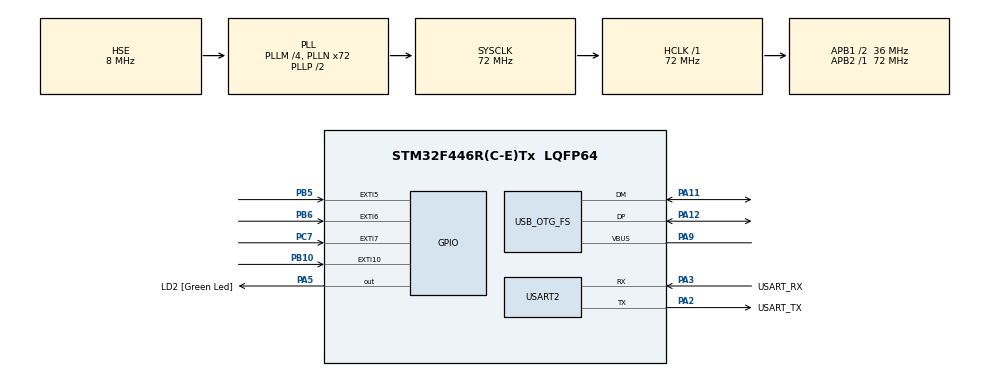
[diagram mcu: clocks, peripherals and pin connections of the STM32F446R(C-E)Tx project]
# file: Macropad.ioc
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Mcu.Family=STM32F4
Mcu.Name=STM32F446R(C-E)Tx
Mcu.Package=LQFP64
NVIC.EXTI15_10_IRQn=true\:0\:0\:false\:false\:true\:true\:true\:true
NVIC.EXTI9_5_IRQn=true\:0\:0\:false\:false\:true\:true\:true\:true
NVIC.OTG_FS_IRQn=true\:0\:0\:false\:false\:true\:false\:true\:true
NVIC.PriorityGroup=NVIC_PRIORITYGROUP_0
NVIC.USART2_IRQn=true\:0\:0\:false\:false\:true\:true\:true\:true
PA11.Mode=Device_Only
PA11.Signal=USB_OTG_FS_DM
PA12.Mode=Device_Only
PA12.Signal=USB_OTG_FS_DP
PA13.GPIO_Label=TMS
PA13.Mode=Trace_Asynchronous_SW
PA13.Signal=SYS_JTMS-SWDIO
PA14.GPIO_Label=TCK
PA14.Mode=Trace_Asynchronous_SW
PA14.Signal=SYS_JTCK-SWCLK
PA2.GPIO_Label=USART_TX
PA2.Mode=Asynchronous
PA2.Signal=USART2_TX
PA3.GPIO_Label=USART_RX
PA3.Mode=Asynchronous
PA3.Signal=USART2_RX
PA5.GPIO_Label=LD2 [Green Led]
PA5.Signal=GPIO_Output
PA9.Mode=Activate_VBUS
PA9.Signal=USB_OTG_FS_VBUS
PB10.GPIO_PuPd=GPIO_PULLDOWN
PB10.Signal=GPXTI10
PB3.GPIO_Label=SWO
PB3.Mode=Trace_Asynchronous_SW
PB3.Signal=SYS_JTDO-SWO
PB5.GPIO_PuPd=GPIO_PULLDOWN
PB5.Signal=GPXTI5
PB6.GPIO_PuPd=GPIO_PULLDOWN
PB6.Signal=GPXTI6
PC14-OSC32_IN.Mode=LSE-External-Oscillator
PC14-OSC32_IN.Signal=RCC_OSC32_IN
PC15-OSC32_OUT.Mode=LSE-External-Oscillator
PC15-OSC32_OUT.Signal=RCC_OSC32_OUT
PC7.GPIO_PuPd=GPIO_PULLDOWN
PC7.Signal=GPXTI7
PH0-OSC_IN.Mode=HSE-External-Oscillator
PH0-OSC_IN.Signal=RCC_OSC_IN
PH1-OSC_OUT.Mode=HSE-External-Oscillator
PH1-OSC_OUT.Signal=RCC_OSC_OUT
ProjectManager.HeapSize=0x200
ProjectManager.StackSize=0x400
ProjectManager.TargetToolchain=STM32CubeIDE
RCC.48MHZClocksFreq_Value=84000000
RCC.AHBFreq_Value=72000000
RCC.APB1CLKDivider=RCC_HCLK_DIV2
RCC.APB1Freq_Value=36000000
RCC.APB1TimFreq_Value=72000000
RCC.APB2Freq_Value=72000000
RCC.APB2TimFreq_Value=72000000
RCC.CortexFreq_Value=72000000
RCC.FLatency-AdvancedSettings=FLASH_LATENCY_2
RCC.HCLKFreq_Value=72000000
RCC.HSE_VALUE=8000000
RCC.HSI_VALUE=16000000
RCC.PLLM=4
RCC.PLLN=72
RCC.PLLQ=3
RCC.PLLSourceVirtual=RCC_PLLSOURCE_HSE
RCC.SYSCLKFreq_VALUE=72000000
RCC.SYSCLKSource=RCC_SYSCLKSOURCE_PLLCLK
RCC.USBFreq_Value=48000000
RCC.VCOOutputFreq_Value=144000000
USART2.VirtualMode=VM_ASYNC
USB_DEVICE.CLASS_NAME_FS=HID
USB_DEVICE.VirtualMode-HID_FS=Hid
USB_DEVICE.VirtualModeFS=Hid_FS
USB_OTG_FS.VirtualMode=Device_Only
VP_USB_DEVICE_VS_USB_DEVICE_HID_FS.Mode=HID_FS
board=NUCLEO-F446RE

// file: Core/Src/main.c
/* USER CODE BEGIN Header */
/**
  ******************************************************************************
  * @file           : main.c
  * @brief          : Main program body
  ******************************************************************************
  * @attention
  *
  * Copyright (c) 2025 STMicroelectronics.
  * All rights reserved.
  *
  * This software is licensed under terms that can be found in the LICENSE file
  * in the root directory of this software component.
  * If no LICENSE file comes with this software, it is provided AS-IS.
  *
  ******************************************************************************
  */
/* USER CODE END Header */
#include "main.h"
#include "usb_device.h"

/* USER CODE BEGIN Includes */
#include <stdbool.h>
/* USER CODE END Includes */

UART_HandleTypeDef huart2;

void SystemClock_Config(void);
static void MX_GPIO_Init(void);
static void MX_USART2_UART_Init(void);

/* USER CODE BEGIN 0 */
extern USBD_HandleTypeDef hUsbDeviceFS;
bool macroActive;
char btnOneID[] = "10";
char btnTwoID[] = "20";
char btnThreeID[] = "30";
char btnFourID[] = "40";

uint32_t macroStartTime;
uint32_t currentTime;
uint32_t previousTime;
int _write(int file, char *ptr, int len){//overwrite the write function for printf to send statements to swv console
	for(int i=0; i < len; i++){
		ITM_SendChar(*ptr++);
	}
	return len;
}

//function to execute macros and setup
typedef struct{//struct to represent keyboard protocol aka what keys you can press or combinations 1 through 6 plus modifiers
	uint8_t MODIFIER;
	uint8_t RESERVED;
	uint8_t KEYCODE1;
	uint8_t KEYCODE2;
	uint8_t KEYCODE3;
	uint8_t KEYCODE4;
	uint8_t KEYCODE5;
	uint8_t KEYCODE6;
} keyboardHID;

keyboardHID keyboardHid = {0}; //create the struct that can be edited to execute macros

//macros are CTRL + Key based for now
void executeMacro(uint8_t keyCode){
	macroStartTime = HAL_GetTick();
	macroActive = true;
	keyboardHid.MODIFIER = 0x01; //left ctrl held down

	keyboardHid.KEYCODE1 = keyCode; //added key combo with CTRL
	USBD_HID_SendReport(&hUsbDeviceFS, &keyboardHid, sizeof(keyboardHid));//send to computer
	//hal delay messes up the clock

}

void releaseMacro(){
	if (macroActive && (HAL_GetTick() - macroStartTime >= 50)){
		//release key afterward
		keyboardHid.MODIFIER = 0x00; //let go off CTRL
		keyboardHid.KEYCODE1 = 0x00; //let go off added key
		USBD_HID_SendReport(&hUsbDeviceFS, &keyboardHid, sizeof(keyboardHid));
		macroActive = false;
	}
}

/* USER CODE END 0 */

int main(void)
{

  /* MCU Configuration--------------------------------------------------------*/

  /* Reset of all peripherals, Initializes the Flash interface and the Systick. */
  HAL_Init();

  /* Configure the system clock */
  SystemClock_Config();

  /* Initialize all configured peripherals */
  MX_GPIO_Init();
  MX_USART2_UART_Init();
  MX_USB_DEVICE_Init();

  /* Infinite loop */
  while (1)
  {

    /* USER CODE BEGIN 3 */
	  releaseMacro();
  }
  /* USER CODE END 3 */
}

void SystemClock_Config(void)
{
  RCC_OscInitTypeDef RCC_OscInitStruct = {0};
  RCC_ClkInitTypeDef RCC_ClkInitStruct = {0};

  /** Configure the main internal regulator output voltage
  */
  __HAL_RCC_PWR_CLK_ENABLE();
  __HAL_PWR_VOLTAGESCALING_CONFIG(PWR_REGULATOR_VOLTAGE_SCALE3);

  /** Initializes the RCC Oscillators according to the specified parameters
  * in the RCC_OscInitTypeDef structure.
  */
  RCC_OscInitStruct.OscillatorType = RCC_OSCILLATORTYPE_HSE;
  RCC_OscInitStruct.HSEState = RCC_HSE_ON;
  RCC_OscInitStruct.PLL.PLLState = RCC_PLL_ON;
  RCC_OscInitStruct.PLL.PLLSource = RCC_PLLSOURCE_HSE;
  RCC_OscInitStruct.PLL.PLLM = 4;
  RCC_OscInitStruct.PLL.PLLN = 72;
  RCC_OscInitStruct.PLL.PLLP = RCC_PLLP_DIV2;
  RCC_OscInitStruct.PLL.PLLQ = 3;
  RCC_OscInitStruct.PLL.PLLR = 2;
  if (HAL_RCC_OscConfig(&RCC_OscInitStruct) != HAL_OK)
  {
    Error_Handler();
  }

  /** Initializes the CPU, AHB and APB buses clocks
  */
  RCC_ClkInitStruct.ClockType = RCC_CLOCKTYPE_HCLK|RCC_CLOCKTYPE_SYSCLK
                              |RCC_CLOCKTYPE_PCLK1|RCC_CLOCKTYPE_PCLK2;
  RCC_ClkInitStruct.SYSCLKSource = RCC_SYSCLKSOURCE_PLLCLK;
  RCC_ClkInitStruct.AHBCLKDivider = RCC_SYSCLK_DIV1;
  RCC_ClkInitStruct.APB1CLKDivider = RCC_HCLK_DIV2;
  RCC_ClkInitStruct.APB2CLKDivider = RCC_HCLK_DIV1;

  if (HAL_RCC_ClockConfig(&RCC_ClkInitStruct, FLASH_LATENCY_2) != HAL_OK)
  {
    Error_Handler();
  }
}

static void MX_USART2_UART_Init(void)
{

  huart2.Instance = USART2;
  huart2.Init.BaudRate = 115200;
  huart2.Init.WordLength = UART_WORDLENGTH_8B;
  huart2.Init.StopBits = UART_STOPBITS_1;
  huart2.Init.Parity = UART_PARITY_NONE;
  huart2.Init.Mode = UART_MODE_TX_RX;
  huart2.Init.HwFlowCtl = UART_HWCONTROL_NONE;
  huart2.Init.OverSampling = UART_OVERSAMPLING_16;
  if (HAL_UART_Init(&huart2) != HAL_OK)
  {
    Error_Handler();
  }

}

static void MX_GPIO_Init(void)
{
  GPIO_InitTypeDef GPIO_InitStruct = {0};

  /* GPIO Ports Clock Enable */
  __HAL_RCC_GPIOC_CLK_ENABLE();
  __HAL_RCC_GPIOH_CLK_ENABLE();
  __HAL_RCC_GPIOA_CLK_ENABLE();
  __HAL_RCC_GPIOB_CLK_ENABLE();

  /*Configure GPIO pin Output Level */
  HAL_GPIO_WritePin(LD2_GPIO_Port, LD2_Pin, GPIO_PIN_RESET);

  /*Configure GPIO pin : LD2_Pin */
  GPIO_InitStruct.Pin = LD2_Pin;
  GPIO_InitStruct.Mode = GPIO_MODE_OUTPUT_PP;
  GPIO_InitStruct.Pull = GPIO_NOPULL;
  GPIO_InitStruct.Speed = GPIO_SPEED_FREQ_LOW;
  HAL_GPIO_Init(LD2_GPIO_Port, &GPIO_InitStruct);

  /*Configure GPIO pins : PB10 PB5 PB6 */
  GPIO_InitStruct.Pin = GPIO_PIN_10|GPIO_PIN_5|GPIO_PIN_6;
  GPIO_InitStruct.Mode = GPIO_MODE_IT_RISING;
  GPIO_InitStruct.Pull = GPIO_PULLDOWN;
  HAL_GPIO_Init(GPIOB, &GPIO_InitStruct);

  /*Configure GPIO pin : PC7 */
  GPIO_InitStruct.Pin = GPIO_PIN_7;
  GPIO_InitStruct.Mode = GPIO_MODE_IT_RISING;
  GPIO_InitStruct.Pull = GPIO_PULLDOWN;
  HAL_GPIO_Init(GPIOC, &GPIO_InitStruct);

  /* EXTI interrupt init*/
  HAL_NVIC_SetPriority(EXTI9_5_IRQn, 0, 0);
  HAL_NVIC_EnableIRQ(EXTI9_5_IRQn);

  HAL_NVIC_SetPriority(EXTI15_10_IRQn, 0, 0);
  HAL_NVIC_EnableIRQ(EXTI15_10_IRQn);

}

/* USER CODE BEGIN 4 */
//write the call back function to handle interupts of anykind
void HAL_GPIO_EXTI_Callback(uint16_t GPIO_Pin){
	UNUSED(GPIO_Pin);
	currentTime = HAL_GetTick();
	//so long as theres been atleast 5 milliseconds between the current and previous interaction (debounce logic)
	if (GPIO_Pin == GPIO_PIN_6 && ((currentTime - previousTime) > 5)){
		//trigger Uart communication to print the button pressed to the screen for debuggin
		HAL_UART_Transmit_IT(&huart2, btnOneID, sizeof(btnOneID));
		//calls function to execute macro CTRL+A
		executeMacro(0x04); //0x04 corresponds to A
		previousTime = currentTime;
	} else if (GPIO_Pin == GPIO_PIN_10 && ((currentTime - previousTime) > 5)){
		//trigger Uart communication to print the button pressed to the screen
		HAL_UART_Transmit_IT(&huart2, btnTwoID, sizeof(btnTwoID));
		//calls function to execute macro CTRL+C
		executeMacro(0x06); //0x06 corresponds to C
		previousTime = currentTime;
	} else if (GPIO_Pin == GPIO_PIN_7 && ((currentTime - previousTime) > 5)){
		//trigger Uart communication to print the button pressed to the screen
		HAL_UART_Transmit_IT(&huart2, btnThreeID, sizeof(btnThreeID));
		//calls function to execute macro CTRL+v
		executeMacro(0x19); //0x19 corresponds to v
		previousTime = currentTime;
	} else if (GPIO_Pin == GPIO_PIN_5 && ((currentTime - previousTime) > 5)){
		//trigger Uart communication to print the button pressed to the screen
		HAL_UART_Transmit_IT(&huart2, btnFourID, sizeof(btnFourID));
		//calls function to execute macro CTRL+z
		executeMacro(0x1D); //0x04 corresponds to z
		previousTime = currentTime;
	}
}
/* USER CODE END 4 */

void Error_Handler(void)
{
  __disable_irq();
  while (1)
  {
  }
}
